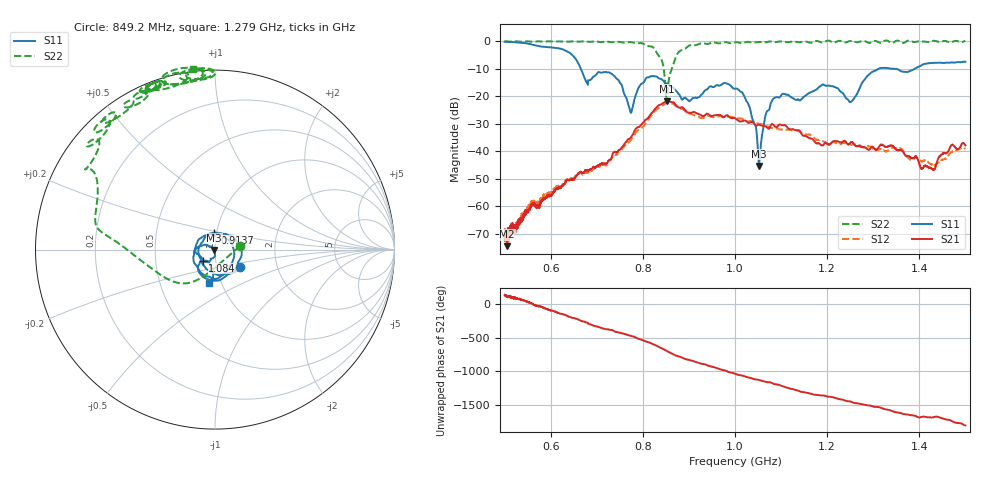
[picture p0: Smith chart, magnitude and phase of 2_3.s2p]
!Agilent Technologies,E8364B,US42250235,A.06.04.32
!Agilent E8364B: A.06.04.32
!Date: Thursday, October 01, 2020 16:01:09
!Correction: S11(Full 2 Port(1,2)) S21(Full 2 Port(1,2)) S12(Full 2 Port(1,2)) S22(Full 2 Port(1,2))
!S2P File: Measurements: S11, S21, S12, S22:
# Hz S  dB  R 50
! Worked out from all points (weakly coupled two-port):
!   2650 points, 500 MHz to 1.5 GHz, reference 50 ohm
!   highest |S21| = -21.80 dB at 851.5 MHz (marker M1); lowest = -74.6 dB at 505.3 MHz (marker M2)
!   lowest |S11| = -45.3 dB at 1.052 GHz (marker M3), VSWR 1.01, Z = 49.5 - j0.14 ohm
!   |S11| at or under -10 dB: 665.2 MHz to 1.312 GHz (646.7 MHz wide, 65.4 % of centre); 1.339551 GHz to 1.339574 GHz (23.35 kHz wide, 0.00174 % of centre); 1.343 GHz to 1.39 GHz (47.54 MHz wide, 3.48 % of centre)
!   |S22| runs from -22.3 to 0.3 dB; largest |S21 - S12| = 0.023
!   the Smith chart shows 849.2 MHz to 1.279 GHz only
!   S11 on the Smith chart (normalised r, x): 849.2 MHz: 1.30, -0.26; 913.7 MHz: 0.98, +0.19; 1.084 GHz: 0.87, -0.11; 1.279 GHz: 0.87, -0.33
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5e8  -0.21 -175.0  -70.87 133.3  -69.67 114.7  0.01 143.4
5.05285e8  -0.24 -177.8  -74.56 102.0  -72.71 105.6  -0.07 144.7
6.166478e8  -2.56 109.2  -53.18 -133.8  -52.89 -145.1  -0.08 129.2
6.668554e8  -10.65 51.4  -47.68 104.1  -48.06 88.4  -0.10 124.0
7.344281e8  -12.18 52.0  -41.02 -31.9  -41.82 -38.0  -0.38 111.2
7.736882e8  -25.97 58.4  -35.12 -115.1  -35.84 -118.0  -0.32 106.3
7.952057e8  -15.78 80.2  -30.64 -167.8  -31.96 -169.6  -0.66 98.4
8.337108e8  -13.37 -0.1  -23.41 84.3  -24.37 89.3  -5.14 50.8
8.491884e8  -15.30 -35.2  -21.96 32.1  -22.64 39.5  -17.20 7.4
8.514534e8  -15.32 -39.9  -21.80 23.2  -22.43 30.7  -22.28 -47.8
8.782559e8  -19.25 -125.6  -24.16 -61.8  -24.32 -54.0  -3.85 171.1
9.13741e8  -20.53 92.1  -25.97 -141.4  -27.11 -128.2  -1.45 143.0
1.000189e9  -17.31 -139.3  -28.02 39.9  -27.94 70.2  -0.42 119.1
1.030011e9  -23.32 158.9  -29.70 -13.1  -29.13 15.4  -0.29 117.7
1.051906e9  -45.34 -164.8  -30.40 -51.7  -30.03 -26.0  -0.26 113.9
1.084371e9  -20.78 -137.6  -30.58 -109.0  -31.75 -78.7  -0.32 112.9
1.166667e9  -18.37 -39.2  -35.45 101.9  -34.32 142.2  -0.48 101.4
1.251604e9  -22.03 -117.7  -36.74 -13.3  -37.61 28.1  0.10 93.8
1.278784e9  -14.49 -100.8  -38.49 -56.1  -38.57 -13.4  0.11 96.9
1.333522e9  -9.80 -157.3  -38.21 -134.9  -39.62 -82.9  -0.05 97.5
1.429407e9  -7.90 167.2  -46.52 114.1  -45.14 148.4  0.12 74.1
1.5e9  -7.48 140.5  -37.92 -6.9  -38.95 58.2  0.16 71.6
